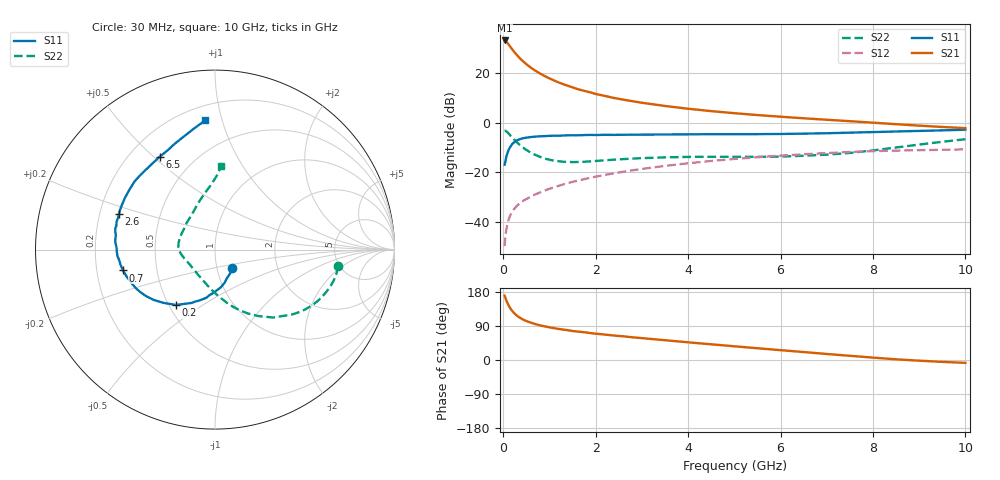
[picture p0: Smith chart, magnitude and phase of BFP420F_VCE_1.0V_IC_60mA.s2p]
! Infineon Technologies  Discrete & RF Semiconductors
! BFP420F
! VCE =  1.0 V,  IC =  60 mA
! Common Emitter S-Parameters:  Sep 2011
# GHz  S  MA  R  50
!  f  S11  S21  S12  S22
! GHz  MAG  ANG  MAG  ANG  MAG  ANG  MAG  ANG
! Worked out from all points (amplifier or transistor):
!   54 points, 30 MHz to 10 GHz, reference 50 ohm
!   highest |S21| = 33.0 dB at 30 MHz (marker M1)
!   |S21| within 3 dB of that: start of sweep to 171.8 MHz
!   unconditionally stable (mu >= 1): start of sweep to 57.55 MHz; 711.5 MHz to end of sweep
!   at 120 MHz: K = 0.73, MSG = 35.1 dB, |S12| = -38.9 dB
!   at 1.3 GHz: K = 1.17, MAG = 17.6 dB, |S12| = -24.8 dB
!   at 10 GHz: K = 1.28, MAG = 1.1 dB, |S12| = -10.7 dB
!   S11 on the Smith chart (normalised r, x): 30 MHz: 1.19, -0.25; 200 MHz: 0.54, -0.39; 700 MHz: 0.31, -0.10; 2.6 GHz: 0.28, +0.17; 6.5 GHz: 0.32, +0.52; 10 GHz: 0.29, +0.89
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0.03  0.143 -47.1  44.88 169.8  0.0033 86.3  0.6917 -7.7
0.05  0.1728 -67.5  43.33 162.8  0.0055 77.8  0.6839 -14.5
0.07  0.2128 -81.3  42.05 156.6  0.0073 78.1  0.6642 -20.6
0.1  0.2571 -97.3  39.08 148.1  0.01 74.3  0.6285 -28.9
0.12  0.2886 -105.0  36.88 143.1  0.0114 72.1  0.6016 -33.8
0.15  0.3239 -113.5  33.77 137.0  0.0136 68.9  0.5597 -40.3
0.2  0.377 -125.1  29.34 128.6  0.0167 65.7  0.4985 -49.4
0.25  0.4119 -133.8  25.57 122.0  0.0191 63.4  0.4442 -56.6
0.3  0.442 -140.6  22.68 116.6  0.0216 62.2  0.4003 -62.8
0.4  0.4788 -150.3  18.12 108.7  0.0255 61.1  0.3328 -72.7
0.5  0.4995 -157.5  15 102.9  0.0292 60.8  0.2836 -80.8
0.7  0.5255 -167.2  11.03 94.6  0.0364 61.4  0.2241 -95.0
0.9  0.5369 -173.6  8.602 88.7  0.0433 62.1  0.19 -107.8
1.1  0.5471 -178.6  7.058 84.0  0.0504 62.4  0.1723 -119.9
1.7  0.5612 170.7  4.486 73.9  0.0715 62.0  0.1622 -148.5
2.6  0.5715 159.7  2.898 62.4  0.1033 58.8  0.1854 -169.4
3.5  0.579 149.9  2.166 52.2  0.1353 53.9  0.2009 -179.7
5.5  0.5886 131.0  1.422 31.0  0.2021 39.9  0.2063 155.0
6.5  0.6022 120.8  1.226 21.0  0.2316 32.4  0.2167 136.9
7  0.6131 115.4  1.144 15.9  0.2451 28.4  0.2276 127.3
8.5  0.6653 103.1  0.932 1.8  0.2749 16.4  0.3173 100.7
10  0.7228 94.2  0.777 -7.5  0.2908 7.6  0.465 85.8
